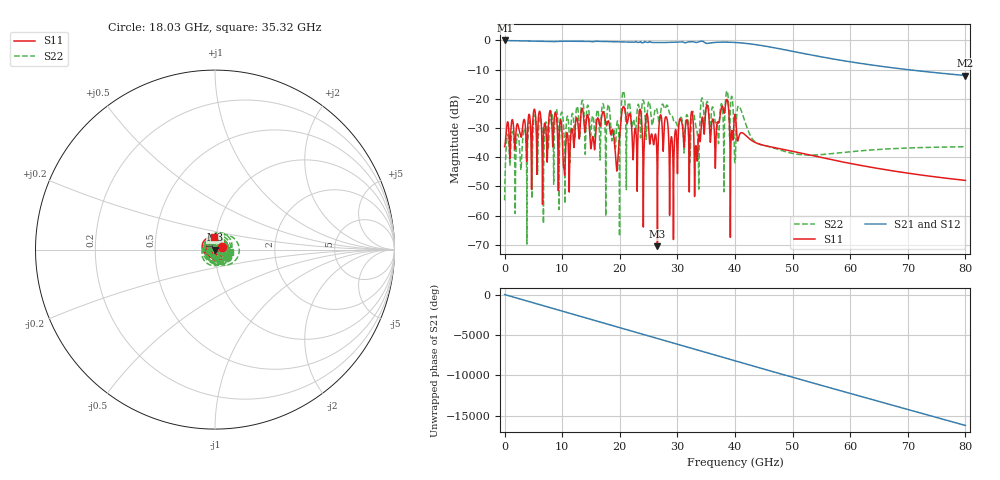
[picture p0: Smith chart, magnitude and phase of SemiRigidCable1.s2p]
# Hz S DB R 50
!Touchstone multiport model file <C:\work\PySI\TestSignalIntegrity\OysterSimulation\ResampledSimbeor\SemiRigidCable1.s2p>
!Created on 22 Aug 18, at 17:55:37.
!Created with Simbeor THz 2018.01(64bit) of Simberian Inc. built on Jul 20 2018
!Output from MultiportParameters of Simbeor.
!Multiport parameters: DataOrigin=Simulation DataOriginName="Project(1).SemiRigidCable1_resampled.LNS"
!RESAMPLED_RCM: Max_RMS_Error=0.0189279; FrqLow=0; FrqHigh=4e+10; MaxTimeResolution=1.25e-11; PassivityState=1; ReciprocityState=1; DataSource="Ål°n"
!RATIONAL COMPACTOR: Precision: Normal; Extract Delay: ON; Extrapolate to DC: ON; Extrapolate to Infinity: OFF; Enforce Passivity: ON; Enforce Reciprocity: ON; Band Limit Factor: 1; Auto-Adjust Config: OFF
!Uncomment the following lines with keywords in square brakets to support IBIS forum specification 2.0.
![Version] 2.0 !This line should be the first in file, preceeding the line starting with #.
![Number of Ports] 2
![Number of Frequencies] 8001
![Two-Port Data Order] 21_12
![Reference] 50 50
!!!!Multiport descriptor profile: InputCount=2 TotalPortCount=2
!DescriptorOutline={DescriptorType=SMatrix InputSpace=Terminal NormalizationType=CommonZo NormalizationCommonZo=50 Ohm OutputFormat=DBMagnitudeAngle}
!InputProfile={Name="IO1" IsTLineInput=False InputNumber=1 PortCount=1 FirstPortNumber=1 InputSpace=Terminal BlockType=SBlock NormalizationType=CommonZo Zo=50}
!InputProfile={Name="IO2" IsTLineInput=False InputNumber=2 PortCount=1 FirstPortNumber=2 InputSpace=Terminal BlockType=SBlock NormalizationType=CommonZo Zo=50}
!!!Global port number to input_name/local_port_number correspondence:
!Port 1 -> "IO1"/local_port_1 (terminal)
!Port 2 -> "IO2"/local_port_1 (terminal)
!!!!End of descriptor profile.
!Frequency Hz 20.0*log(|S[1,1]|) arg(S[1,1]) 20.0*log(|S[2,1]|) arg(S[2,1]) 20.0*log(|S[1,2]|) arg(S[1,2]) 20.0*log(|S[2,2]|) arg(S[2,2])
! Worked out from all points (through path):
!   8000 points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, 10 MHz to 80 GHz, reference 50 ohm
!   highest |S21| = -0.06 dB at 90 MHz (marker M1); lowest = -12.1 dB at 80 GHz (marker M2)
!   lowest |S11| = -70.5 dB at 26.54 GHz (marker M3), VSWR 1.00, Z = 50 - j0.017 ohm
!   |S11| at or under -10 dB: start of sweep to end of sweep
!   |S22| runs from -69.7 to -17.3 dB; largest |S21 - S12| = 1.8e-14
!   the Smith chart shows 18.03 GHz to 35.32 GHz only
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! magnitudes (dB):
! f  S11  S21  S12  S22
! 10 MHz  -36.4  -0.1  -0.1  -54.8
! 90 MHz  -35.7  -0.1  -0.1  -46.5
! 1.35 GHz  -27.1  -0.1  -0.1  -31.3
! 8.83 GHz  -24.7  -0.4  -0.4  -24.7
! 10.4 GHz  -45.7  -0.3  -0.3  -38.0
! 13.35 GHz  -23.9  -0.3  -0.3  -21.8
! 15.31 GHz  -32.9  -0.5  -0.5  -25.8
! 17.21 GHz  -24.7  -0.4  -0.4  -22.5
! 19.46 GHz  -44.4  -0.5  -0.5  -29.5
! 20.65 GHz  -22.6  -0.6  -0.6  -17.4
! 26.54 GHz  -70.5  -0.8  -0.8  -24.6
! 26.68 GHz  -34.6  -0.8  -0.8  -26.7
! 32.53 GHz  -24.3  -0.5  -0.5  -25.9
! 33.27 GHz  -36.5  -0.7  -0.7  -30.0
! 35.13 GHz  -22.2  -1.1  -1.1  -21.0
! 36.75 GHz  -31.7  -0.7  -0.7  -28.1
! 38.6 GHz  -20.2  -0.6  -0.6  -17.3
! 40.01 GHz  -25.4  -0.7  -0.7  -41.9
! 40.77 GHz  -32.4  -0.8  -0.8  -22.7
! 53.34 GHz  -39.4  -5.1  -5.1  -39.3
! 66.67 GHz  -44.5  -9.2  -9.2  -37.2
! 80 GHz  -47.9  -12.1  -12.1  -36.4
